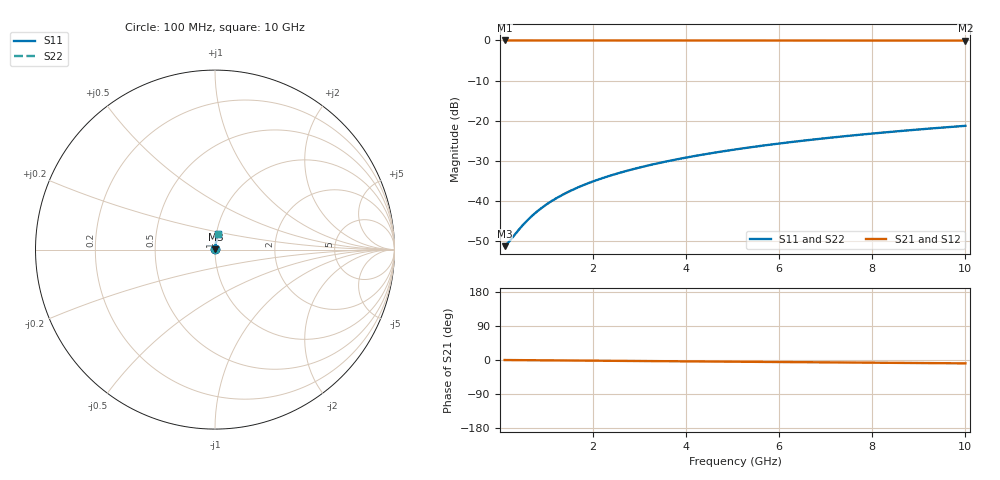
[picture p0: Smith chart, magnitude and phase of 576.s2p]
# Hz S RI R 50.00
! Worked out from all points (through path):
!   100 points, 100 MHz to 10 GHz, reference 50 ohm
!   highest |S21| = -0.02 dB at 100 MHz (marker M1); lowest = -0.1 dB at 10 GHz (marker M2)
!   group delay of S21, straight-line fit = 2.47 ps
!   lowest |S11| = -51.3 dB at 100 MHz (marker M3), VSWR 1.01, Z = 50.3 + j0.0866 ohm
!   |S11| at or under -10 dB: start of sweep to end of sweep
!   |S22| runs from -51.3 to -21.3 dB; largest |S21 - S12| = 0
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1e8  0.0026 0.000861  0.9974 -0.00154  0.9974 -0.00154  0.0026 0.000861
2e8  0.00262 0.00172  0.9974 -0.00309  0.9974 -0.00309  0.00262 0.00172
4e8  0.00266 0.00344  0.9973 -0.00617  0.9973 -0.00617  0.00266 0.00344
5e8  0.00268 0.00431  0.9973 -0.00772  0.9973 -0.00772  0.00268 0.00431
6e8  0.0027 0.00517  0.9973 -0.00926  0.9973 -0.00926  0.0027 0.00517
7e8  0.00272 0.00603  0.9973 -0.0108  0.9973 -0.0108  0.00272 0.00603
9e8  0.00278 0.00775  0.9972 -0.0139  0.9972 -0.0139  0.00278 0.00775
1.1e9  0.00284 0.00947  0.9971 -0.017  0.9971 -0.017  0.00284 0.00947
1.3e9  0.00291 0.0112  0.997 -0.0201  0.997 -0.0201  0.00291 0.0112
1.5e9  0.003 0.0129  0.9969 -0.0231  0.9969 -0.0231  0.003 0.0129
1.8e9  0.00314 0.0155  0.9968 -0.0278  0.9968 -0.0278  0.00314 0.0155
2.1e9  0.00331 0.0181  0.9966 -0.0324  0.9966 -0.0324  0.00331 0.0181
2.5e9  0.00356 0.0215  0.9963 -0.0386  0.9963 -0.0386  0.00356 0.0215
2.9e9  0.00386 0.0249  0.9959 -0.0447  0.9959 -0.0447  0.00386 0.0249
3.4e9  0.0043 0.0292  0.9954 -0.0524  0.9954 -0.0524  0.0043 0.0292
4.2e9  0.00512 0.0361  0.9944 -0.0648  0.9944 -0.0648  0.00512 0.0361
5.1e9  0.00626 0.0437  0.9931 -0.0786  0.9931 -0.0786  0.00626 0.0437
5.9e9  0.00744 0.0505  0.9917 -0.0909  0.9917 -0.0909  0.00744 0.0505
6.7e9  0.0088 0.0573  0.9901 -0.1031  0.9901 -0.1031  0.0088 0.0573
7.5e9  0.0103 0.064  0.9883 -0.1153  0.9883 -0.1153  0.0103 0.064
8.4e9  0.0122 0.0715  0.9861 -0.129  0.9861 -0.129  0.0122 0.0715
1e10  0.0161 0.0847  0.9814 -0.1533  0.9814 -0.1533  0.0161 0.0847
